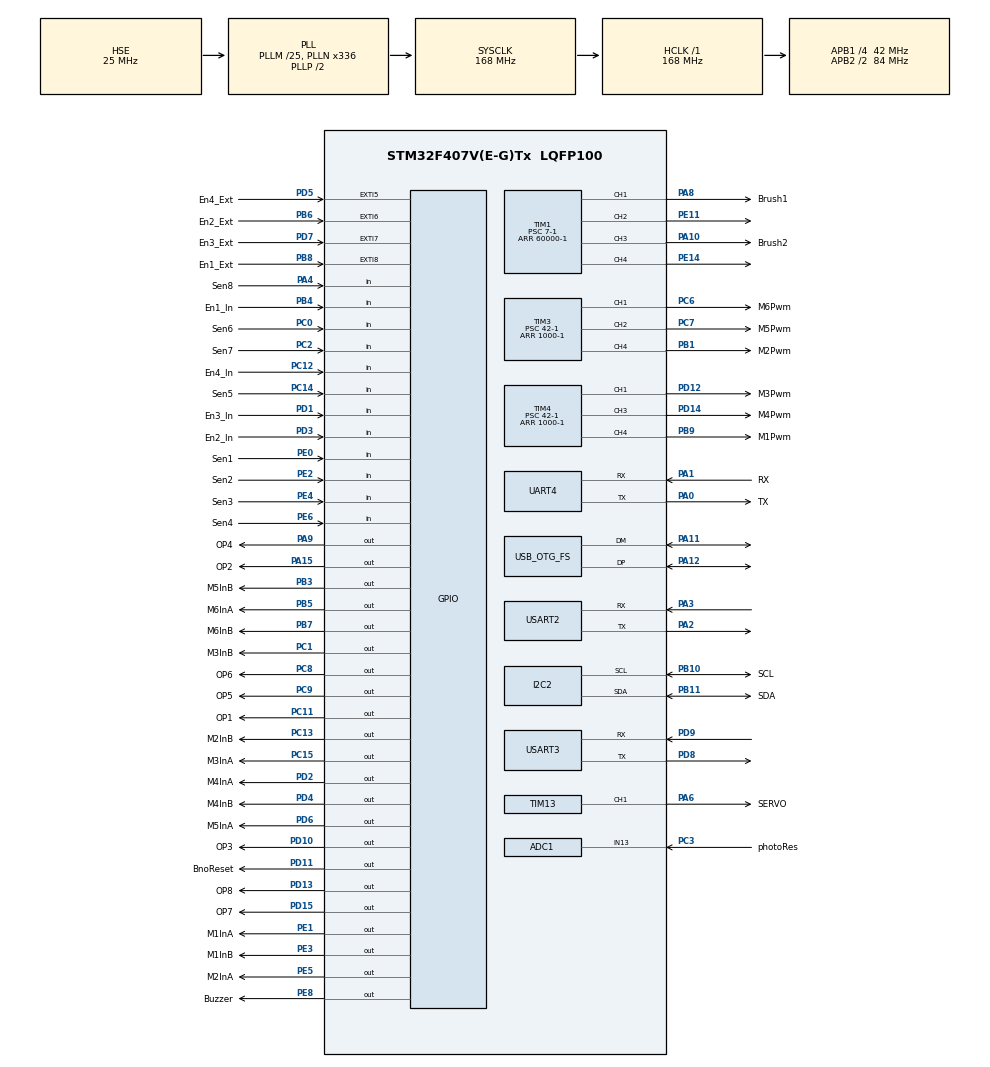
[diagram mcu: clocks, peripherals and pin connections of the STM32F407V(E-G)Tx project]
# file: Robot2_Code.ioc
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ADC1.Channel-0\#ChannelRegularConversion=ADC_CHANNEL_13
ADC1.NbrOfConversionFlag=1
ADC1.Rank-0\#ChannelRegularConversion=1
ADC1.SamplingTime-0\#ChannelRegularConversion=ADC_SAMPLETIME_3CYCLES
ADC1.master=1
Dma.Request0=UART4_TX
Dma.UART4_TX.0.Direction=DMA_MEMORY_TO_PERIPH
Dma.UART4_TX.0.FIFOMode=DMA_FIFOMODE_DISABLE
Dma.UART4_TX.0.Instance=DMA1_Stream4
Dma.UART4_TX.0.MemDataAlignment=DMA_MDATAALIGN_BYTE
Dma.UART4_TX.0.MemInc=DMA_MINC_ENABLE
Dma.UART4_TX.0.Mode=DMA_NORMAL
Dma.UART4_TX.0.PeriphDataAlignment=DMA_PDATAALIGN_BYTE
Dma.UART4_TX.0.PeriphInc=DMA_PINC_DISABLE
Dma.UART4_TX.0.Priority=DMA_PRIORITY_LOW
I2C2.I2C_Mode=I2C_Fast
Mcu.Family=STM32F4
Mcu.Name=STM32F407V(E-G)Tx
Mcu.Package=LQFP100
NVIC.DMA1_Stream4_IRQn=true\:0\:0\:false\:false\:true\:false\:true\:true
NVIC.EXTI9_5_IRQn=true\:0\:0\:false\:false\:true\:true\:true\:true
NVIC.OTG_FS_IRQn=true\:0\:0\:false\:false\:true\:false\:true\:true
NVIC.PriorityGroup=NVIC_PRIORITYGROUP_4
NVIC.TIM7_IRQn=true\:0\:0\:false\:false\:true\:true\:true\:true
NVIC.USART2_IRQn=true\:0\:0\:false\:false\:true\:true\:true\:true
NVIC.USART3_IRQn=true\:0\:0\:false\:false\:true\:true\:true\:true
PA0-WKUP.GPIO_Label=TX
PA0-WKUP.Mode=Asynchronous
PA0-WKUP.Signal=UART4_TX
PA1.GPIO_Label=RX
PA1.Mode=Asynchronous
PA1.Signal=UART4_RX
PA10.GPIO_Label=Brush2
PA10.Signal=S_TIM1_CH3
PA11.Mode=Device_Only
PA11.Signal=USB_OTG_FS_DM
PA12.Mode=Device_Only
PA12.Signal=USB_OTG_FS_DP
PA13.Mode=Serial_Wire
PA13.Signal=SYS_JTMS-SWDIO
PA14.Mode=Serial_Wire
PA14.Signal=SYS_JTCK-SWCLK
PA15.GPIO_Label=OP2
PA15.Signal=GPIO_Output
PA2.Mode=Asynchronous
PA2.Signal=USART2_TX
PA3.Mode=Asynchronous
PA3.Signal=USART2_RX
PA4.GPIO_Label=Sen8
PA4.GPIO_PuPd=GPIO_PULLUP
PA4.Signal=GPIO_Input
PA6.GPIO_Label=SERVO
PA6.Signal=S_TIM13_CH1
PA8.GPIO_Label=Brush1
PA8.Signal=S_TIM1_CH1
PA9.GPIO_Label=OP4
PA9.Signal=GPIO_Output
PB1.GPIO_Label=M2Pwm
PB1.Signal=S_TIM3_CH4
PB10.GPIO_Label=SCL
PB10.Mode=I2C
PB10.Signal=I2C2_SCL
PB11.GPIO_Label=SDA
PB11.Mode=I2C
PB11.Signal=I2C2_SDA
PB3.GPIO_Label=M5InB
PB3.Signal=GPIO_Output
PB4.GPIO_Label=En1_In
PB4.GPIO_PuPd=GPIO_PULLUP
PB4.Signal=GPIO_Input
PB5.GPIO_Label=M6InA
PB5.Signal=GPIO_Output
PB6.GPIO_Label=En2_Ext
PB6.GPIO_ModeDefaultEXTI=GPIO_MODE_IT_RISING
PB6.Signal=GPXTI6
PB7.GPIO_Label=M6InB
PB7.Signal=GPIO_Output
PB8.GPIO_Label=En1_Ext
PB8.Signal=GPXTI8
PB9.GPIO_Label=M1Pwm
PB9.Signal=S_TIM4_CH4
PC0.GPIO_Label=Sen6
PC0.GPIO_PuPd=GPIO_PULLUP
PC0.Signal=GPIO_Input
PC1.GPIO_Label=M3InB
PC1.Signal=GPIO_Output
PC11.GPIO_Label=OP1
PC11.Signal=GPIO_Output
PC12.GPIO_Label=En4_In
PC12.GPIO_PuPd=GPIO_PULLUP
PC12.Signal=GPIO_Input
PC13-ANTI_TAMP.GPIO_Label=M2InB
PC13-ANTI_TAMP.Signal=GPIO_Output
PC14-OSC32_IN.GPIO_Label=Sen5
PC14-OSC32_IN.GPIO_PuPd=GPIO_PULLUP
PC14-OSC32_IN.Signal=GPIO_Input
PC15-OSC32_OUT.GPIO_Label=M3InA
PC15-OSC32_OUT.Signal=GPIO_Output
PC2.GPIO_Label=Sen7
PC2.GPIO_PuPd=GPIO_PULLUP
PC2.Signal=GPIO_Input
PC3.GPIO_Label=photoRes
PC3.Signal=SharedAnalog_PC3
PC6.GPIO_Label=M6Pwm
PC6.Signal=S_TIM3_CH1
PC7.GPIO_Label=M5Pwm
PC7.Signal=S_TIM3_CH2
PC8.GPIO_Label=OP6
PC8.Signal=GPIO_Output
PC9.GPIO_Label=OP5
PC9.Signal=GPIO_Output
PD1.GPIO_Label=En3_In
PD1.GPIO_PuPd=GPIO_PULLUP
PD1.Signal=GPIO_Input
PD10.GPIO_Label=OP3
PD10.Signal=GPIO_Output
PD11.GPIO_Label=BnoReset
PD11.Signal=GPIO_Output
PD12.GPIO_Label=M3Pwm
PD12.Signal=S_TIM4_CH1
PD13.GPIO_Label=OP8
PD13.Signal=GPIO_Output
PD14.GPIO_Label=M4Pwm
PD14.Signal=S_TIM4_CH3
PD15.GPIO_Label=OP7
PD15.Signal=GPIO_Output
PD2.GPIO_Label=M4InA
PD2.Signal=GPIO_Output
PD3.GPIO_Label=En2_In
PD3.GPIO_PuPd=GPIO_PULLUP
PD3.Signal=GPIO_Input
PD4.GPIO_Label=M4InB
PD4.Signal=GPIO_Output
PD5.GPIO_Label=En4_Ext
PD5.Signal=GPXTI5
PD6.GPIO_Label=M5InA
PD6.Signal=GPIO_Output
PD7.GPIO_Label=En3_Ext
PD7.Signal=GPXTI7
PD8.Mode=Asynchronous
PD8.Signal=USART3_TX
PD9.Mode=Asynchronous
PD9.Signal=USART3_RX
PE0.GPIO_Label=Sen1
PE0.GPIO_PuPd=GPIO_PULLUP
PE0.Signal=GPIO_Input
PE1.GPIO_Label=M1InA
PE1.Signal=GPIO_Output
PE11.Signal=S_TIM1_CH2
PE14.Signal=S_TIM1_CH4
PE2.GPIO_Label=Sen2
PE2.GPIO_PuPd=GPIO_PULLUP
PE2.Signal=GPIO_Input
PE3.GPIO_Label=M1InB
PE3.Signal=GPIO_Output
PE4.GPIO_Label=Sen3
PE4.GPIO_PuPd=GPIO_PULLUP
PE4.Signal=GPIO_Input
PE5.GPIO_Label=M2InA
PE5.Signal=GPIO_Output
PE6.GPIO_Label=Sen4
PE6.GPIO_PuPd=GPIO_PULLUP
PE6.Signal=GPIO_Input
PE8.GPIO_Label=Buzzer
PE8.Signal=GPIO_Output
PH0-OSC_IN.Mode=HSE-External-Oscillator
PH0-OSC_IN.Signal=RCC_OSC_IN
PH1-OSC_OUT.Mode=HSE-External-Oscillator
PH1-OSC_OUT.Signal=RCC_OSC_OUT
ProjectManager.HeapSize=0x200
ProjectManager.StackSize=0x400
ProjectManager.TargetToolchain=CMake
RCC.48MHZClocksFreq_Value=48000000
RCC.AHBFreq_Value=168000000
RCC.APB1CLKDivider=RCC_HCLK_DIV4
RCC.APB1Freq_Value=42000000
RCC.APB1TimFreq_Value=84000000
RCC.APB2CLKDivider=RCC_HCLK_DIV2
RCC.APB2Freq_Value=84000000
RCC.APB2TimFreq_Value=168000000
RCC.CortexFreq_Value=168000000
RCC.HCLKFreq_Value=168000000
RCC.HSE_VALUE=25000000
RCC.HSI_VALUE=16000000
RCC.LSE_VALUE=32768
RCC.PLLM=25
RCC.PLLN=336
RCC.PLLQ=7
RCC.SYSCLKFreq_VALUE=168000000
RCC.SYSCLKSource=RCC_SYSCLKSOURCE_PLLCLK
RCC.VCOOutputFreq_Value=336000000
SH.S_TIM13_CH1.0=TIM13_CH1,PWM Generation1 CH1
SH.S_TIM1_CH1.0=TIM1_CH1,PWM Generation1 CH1
SH.S_TIM1_CH2.0=TIM1_CH2,PWM Generation2 CH2
SH.S_TIM1_CH3.0=TIM1_CH3,PWM Generation3 CH3
SH.S_TIM1_CH4.0=TIM1_CH4,PWM Generation4 CH4
SH.S_TIM3_CH1.0=TIM3_CH1,PWM Generation1 CH1
SH.S_TIM3_CH2.0=TIM3_CH2,PWM Generation2 CH2
SH.S_TIM3_CH4.0=TIM3_CH4,PWM Generation4 CH4
SH.S_TIM4_CH1.0=TIM4_CH1,PWM Generation1 CH1
SH.S_TIM4_CH3.0=TIM4_CH3,PWM Generation3 CH3
SH.S_TIM4_CH4.0=TIM4_CH4,PWM Generation4 CH4
SH.SharedAnalog_PC3.0=GPIO_Analog
SH.SharedAnalog_PC3.1=ADC1_IN13,IN13
TIM1.Channel-PWM\ Generation1\ CH1=TIM_CHANNEL_1
TIM1.Channel-PWM\ Generation2\ CH2=TIM_CHANNEL_2
TIM1.Channel-PWM\ Generation3\ CH3=TIM_CHANNEL_3
TIM1.Channel-PWM\ Generation4\ CH4=TIM_CHANNEL_4
TIM1.Period=60000-1
TIM1.Prescaler=7-1
TIM13.Channel=TIM_CHANNEL_1
TIM13.Period=19999
TIM13.Prescaler=83
TIM13.Pulse=1500
TIM3.Channel-PWM\ Generation1\ CH1=TIM_CHANNEL_1
TIM3.Channel-PWM\ Generation2\ CH2=TIM_CHANNEL_2
TIM3.Channel-PWM\ Generation4\ CH4=TIM_CHANNEL_4
TIM3.Period=1000-1
TIM3.Prescaler=42-1
TIM4.Channel-PWM\ Generation1\ CH1=TIM_CHANNEL_1
TIM4.Channel-PWM\ Generation3\ CH3=TIM_CHANNEL_3
TIM4.Channel-PWM\ Generation4\ CH4=TIM_CHANNEL_4
TIM4.Period=1000-1
TIM4.Prescaler=42-1
TIM7.Period=1000-1
TIM7.Prescaler=42-1
UART4.VirtualMode=Asynchronous
USART2.VirtualMode=VM_ASYNC
USART3.VirtualMode=VM_ASYNC
USB_DEVICE.CLASS_NAME_FS=CDC
USB_DEVICE.VirtualMode-CDC_FS=Cdc
USB_DEVICE.VirtualModeFS=Cdc_FS
USB_OTG_FS.VirtualMode=Device_Only
VP_TIM13_VS_ClockSourceINT.Mode=Enable_Timer
VP_TIM1_VS_ClockSourceINT.Mode=Internal
VP_TIM4_VS_ClockSourceINT.Mode=Internal
VP_TIM7_VS_ClockSourceINT.Mode=Enable_Timer
VP_USB_DEVICE_VS_USB_DEVICE_CDC_FS.Mode=CDC_FS
board=custom

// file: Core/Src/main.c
/* USER CODE BEGIN Header */
/**
 ******************************************************************************
 * @file           : main.c
 * @brief          : Main program body
 ******************************************************************************
 * @attention
 *
 * Copyright (c) 2025 STMicroelectronics.
 * All rights reserved.
 *
 * This software is licensed under terms that can be found in the LICENSE file
 * in the root directory of this software component.
 * If no LICENSE file comes with this software, it is provided AS-IS.
 *
 ***************************************c***************************************
 */
/* USER CODE END Header */
#include "main.h"
#include "usb_device.h"

/* USER CODE BEGIN Includes */
#include "blue.h"
#include "general.h"
#include "lpms.h"
#include "red.h"
#include "sequence.h"
#include "test.h"
#include <stdio.h>
#include <string.h> // memcpy() — PS5 багцыг PCB2 руу дамжуулахад

// #include "lpms.h"
/* USER CODE END Includes */

ADC_HandleTypeDef hadc1;

I2C_HandleTypeDef hi2c2;

TIM_HandleTypeDef htim1;
TIM_HandleTypeDef htim3;
TIM_HandleTypeDef htim4;
TIM_HandleTypeDef htim7;
TIM_HandleTypeDef htim13;

UART_HandleTypeDef huart4;
UART_HandleTypeDef huart2;
UART_HandleTypeDef huart3;
DMA_HandleTypeDef hdma_uart4_tx;

void SystemClock_Config(void);
static void MX_GPIO_Init(void);
static void MX_DMA_Init(void);
static void MX_I2C2_Init(void);
static void MX_TIM1_Init(void);
static void MX_UART4_Init(void);
static void MX_USART3_UART_Init(void);
static void MX_TIM3_Init(void);
static void MX_TIM4_Init(void);
static void MX_TIM7_Init(void);
static void MX_TIM13_Init(void);
static void MX_ADC1_Init(void);
static void MX_USART2_UART_Init(void);
/* USER CODE BEGIN PFP */

int control_data[5][4] = {0};

void send_DMA(uint8_t command) {
  HAL_UART_Transmit(&huart4, &command, 1, HAL_MAX_DELAY);
}
uint8_t information[23]; // шинэ урт
uint8_t rx_idx = 0;
uint8_t data;

/* ---- USART2 (PA2) → 2 дахь PCB руу PS5 багц дамжуулах ------------------- */
uint8_t link_tx[23]; // Transmit_IT-ийн буфер (information-оос хуулна)
volatile uint32_t link_fwd_n = 0;    // амжилттай дамжуулсан багц
volatile uint32_t link_fwd_skip = 0; // BUSY-аас болж алгассан багц

/* ---- USART2 (PA3 RX) ← PCB2-оос ирэх ЗАМ (route) -----------------------
 *  PCB2 тактик setup-д хамгийн сайн баганыг тооцоод [START][route][0x0A]
 *  багцаар илгээнэ:  START=0xB2 preview (харуулна),  START=0xB3 SET (эхэлнэ).
 *  g_route (1/2/3) -ыг auto_climb climb_1/2/3-д, g_route_set-ийг ЭХЛЭХ гэрэлд.
 *  USART2 нь full-duplex — TX (дамжуулах) ба RX (route) зэрэг ажиллана.     */
volatile uint8_t g_route = 0; // 1/2/3 = сонгосон багана (preview/set), 0=алга
volatile uint8_t g_route_set =
    0; // 1 = тактик БАТАЛГААЖСАН (0xB3 ирсэн) → эхэлж болно
volatile uint8_t g_grab_done =
    0; // 1 = PCB2 grab дуусгасан (0xB5 ирсэн) — handshake ack
volatile uint8_t g_grab_ans =
    0; // PCB2-ийн "энд grab уу?" хариу (0xB6): 1=grab 0=skip
volatile uint8_t g_grab_ans_rdy = 0; // 1 = дээрх хариу шинээр ирсэн
volatile uint8_t g_strafe_cmd =
    0; // PCB2-ийн strafe команд (0xB7): 0=зогс 1=зүүн 2=баруун
volatile uint32_t g_strafe_ms =
    0; // сүүлд strafe команд ирсэн үе (шинэлэг эсэхийг шалгах)
volatile uint32_t route_rx_n = 0;  // USART2 RX-д ирсэн НИЙТ байт (оношилгоо)
volatile uint32_t route_pkt_n = 0; // бүрэн задарсан route/ack багц (оношилгоо)
static uint8_t route_rx = 0;       // HAL RX буфер (1 байт)
static uint8_t route_state = 0;    // 0=START хүлээх, 1=route, 2=END
static uint8_t route_start = 0;    // энэ багцын START (0xB2/0xB3)
static uint8_t route_tmp = 0;      // задарч буй route

/* -----------------------------------------------------------------------------
 *  HAL_UART_RxCpltCallback — ESP32-оос ирсэн PS5 багцыг задлах (huart3, 1
 * байт/удаа)
 *
 *  Багц: 23 байт,  [0]=0xAA (START) ... [22]=0x0A (END),  [21]=холболтын флаг.
 *  START байт хүлээж, 23 байт бүрдэхэд задалж control_data[5][4]-д хийнэ.
 *
 *  ─ Джойстик (information[1..4] − 100 → control_data[0][0..3], утга −100..100)
 * ─ control_data[0][0] = Зүүн стик X       control_data[0][2] = Баруун стик X
 *      control_data[0][1] = Зүүн стик Y       control_data[0][3] = Баруун стик
 * Y
 *
 *  ─ Товч (information[5..20] → control_data[1..4][0..3], утга 0/1) ─
 *      control_data[1][0]=Cross    [1][1]=Square   [1][2]=Triangle
 * [1][3]=Circle control_data[2][0]=D-Down   [2][1]=D-Right  [2][2]=D-Up
 * [2][3]=D-Left control_data[3][0]=L1       [3][1]=R1       [3][2]=L2 [3][3]=R2
 *      control_data[4][0]=Share    [4][1]=Options  [4][2]=L3       [4][3]=R3
 *
 *  Холбогдоогүй (флаг = 0) бол бүх утгыг 0 болгож цэвэрлэнэ.
 * -----------------------------------------------------------------------------
 */
void HAL_UART_RxCpltCallback(UART_HandleTypeDef *huart) {
  if (huart == &huart3) {
    if (rx_idx == 0 && data != 0xAA) {
      HAL_UART_Receive_IT(&huart3, &data, 1);
      return;
    }

    information[rx_idx++] = data;

    if (rx_idx == 23 && information[22] == 0x0A) {
      uint8_t isConnected = information[21];

      if (isConnected == 1) {
        // --- Джойстик: information[1..4] → control_data[0][0..3], төв 100-г
        // хасаж -100..100 ---
        //   [0][0]=LStickX  [0][1]=LStickY  [0][2]=RStickX  [0][3]=RStickY
        for (int i = 0; i < 4; i++) {
          control_data[0][i] = information[1 + i] - 100;
        }

        // --- Товч: information[5..20] → control_data[1..4][0..3] (0/1) ---
        //   мөр 1 = Cross/Square/Triangle/Circle
        //   мөр 2 = D-pad Down/Right/Up/Left
        //   мөр 3 = L1/R1/L2/R2
        //   мөр 4 = Share/Options/L3/R3
        for (int i = 0; i < 16; i++) {
          control_data[1 + (i / 4)][i % 4] = information[5 + i];
        }

      } else {
        // --- Холбогдоогүй: бүх джойстик/товчийг тэглэх ---
        for (int i = 0; i < 5; i++) {
          for (int j = 0; j < 4; j++) {
            control_data[i][j] = 0;
          }
        }
      }

      /* ===== 2 дахь PCB руу ДАМЖУУЛАХ (USART2, PA2) =====
       *  PS5 нэг ширхэг — түүнийг ЭНЭ самбарт залгаад PCB2 руу дамжуулна.
       *
       *  Түүхий 23 байтыг ЯГ ТЭР ХЭВЭЭР нь дамжуулна (дахин задлаж угсрахгүй).
       *  Тиймээс PCB2 нь ЯГ ижил задлагч ашиглана — формат хэзээ ч зөрөхгүй.
       *
       *  Transmit_IT — blocking БИШ. HAL_UART_Transmit (blocking) бол 23 байт
       *  @115200 = ~2мс ISR дотор гацна, тэр нь бусад тасалдлыг хойшлуулна.
       *
       *  Өмнөх дамжуулалт дуусаагүй бол HAL_BUSY буцаана → энэ багцыг чимээгүй
       *  алгасана. ESP32 нь ~10-20мс тутам илгээдэг, дамжуулалт 2мс тул
       *  давхцах нь ховор; давхцлаа ч дараагийн багц шууд ирнэ.
       */
      memcpy(link_tx, information, 23);
      if (HAL_UART_Transmit_IT(&huart2, link_tx, 23) == HAL_OK) {
        link_fwd_n++;
      } else {
        link_fwd_skip++;
      }

      rx_idx = 0;
    } else if (rx_idx >= 23) {
      rx_idx = 0; // invalid
    }

    HAL_UART_Receive_IT(&huart3, &data, 1);
  } else if (huart == &huart2) {
    /* --- PCB2-оос ирэх багц [START][data][0x0A] ---
     *   0xB2 preview · 0xB3 SET(route) · 0xB5 GRAB-DONE · 0xB6 GRAB-ANS(1/0)
     *   0xB7 STRAFE(0=зогс/1=зүүн/2=баруун) — grab дундах strafe-ийг PCB2
     * удирдана */
    route_rx_n++; // оношилгоо: нийт байт
    switch (route_state) {
    case 0:
      if (route_rx == 0xB2 || route_rx == 0xB3 || route_rx == 0xB5 ||
          route_rx == 0xB6 || route_rx == 0xB7) {
        route_start = route_rx;
        route_state = 1;
      }
      break;
    case 1:
      route_tmp = route_rx;
      route_state = 2;
      break; // data
    default: // END
      if (route_rx == 0x0A) {
        if (route_start == 0xB5) { // PCB2 grab дуусгасан ack
          g_grab_done = 1;
          route_pkt_n++;
        } else if (route_start == 0xB6) { // "энд grab уу?" хариу
          g_grab_ans = (route_tmp != 0);
          g_grab_ans_rdy = 1;
          route_pkt_n++;
        } else if (route_start == 0xB7) { // strafe команд (grab дунд)
          g_strafe_cmd = route_tmp;       // 0=зогс 1=зүүн 2=баруун
          g_strafe_ms = HAL_GetTick();    // шинэлэг тэмдэг
          route_pkt_n++;
        } else if (route_tmp >= 1 && route_tmp <= 3) { // route (0xB2/0xB3)
          g_route = route_tmp;
          route_pkt_n++;
          if (route_start == 0xB3)
            g_route_set = 1; // SET → LOCK
        }
      }
      route_state = 0;
      break;
    }
    HAL_UART_Receive_IT(&huart2, &route_rx, 1);
  }
}

/* -----------------------------------------------------------------------------
 *  Link_Send_Grab — PCB2 руу "GRAB эхлүүл" команд (USART2 TX, PS5-тэй нэг
 * шугам)
 *
 *  Багц: [0xC1][0xC2][type][0x0A] — давхар magic (0xC1,0xC2) нь PS5 урсгалтай
 *  санамсаргүй давхцахаас сэргийлнэ.  type: 0 = down_20, 1 = up_20 (платформ).
 *  PCB2 үүнийг ялгаж, төрөл + f/b тоологчоор аль грабыг ажиллуулахаа сонгоно.
 *  Forwarding идэвхтэй (gState=BUSY_TX) бол HAL_BUSY → чимээгүй алгасана;
 *  auto_climb grab-ийн хүлээх төлөвт давтан илгээдэг тул нэг нь хүрнэ. */
void Link_Send_Grab(uint8_t type) {
  uint8_t pkt[4] = {0xC1, 0xC2, type, 0x0A};
  HAL_UART_Transmit(&huart2, pkt, 4, 5);
}

/* -----------------------------------------------------------------------------
 *  Link_Query_Block — PCB2-оос "энэ блок дээр grab хийх үү?" асуух
 *    Багц: [0xC3][block][0x0A]  (block = 1..12). PCB2 тактикаа шалгаад
 *    [0xB6][1/0][0x0A] хариулна → g_grab_ans / g_grab_ans_rdy.               */
void Link_Query_Block(uint8_t block) {
  uint8_t pkt[3] = {0xC3, block, 0x0A};
  HAL_UART_Transmit(&huart2, pkt, 3, 5);
}

/* USER CODE END PFP */

/* USER CODE BEGIN 0 */

extern int timer;
extern int counter[4];

uint8_t usb_received_value = 0;
uint8_t usb_new_data_flag = 0;

/* USER CODE END 0 */

int main(void) {

  /* MCU Configuration--------------------------------------------------------*/

  /* Reset of all peripherals, Initializes the  Flash interface and the Systick.
   */

  HAL_Init();

  /* Configure the system clock */
  SystemClock_Config();

  /* Initialize all configured peripherals */
  MX_GPIO_Init();
  MX_DMA_Init();
  MX_I2C2_Init();
  MX_TIM1_Init();
  MX_UART4_Init();
  MX_USART3_UART_Init();
  MX_TIM3_Init();
  MX_TIM4_Init();
  MX_TIM7_Init();
  MX_TIM13_Init();
  MX_ADC1_Init();
  MX_USB_DEVICE_Init();
  MX_USART2_UART_Init();
  /* USER CODE BEGIN 2 */
  /* USART2 (PA3 RX) — PCB2-оос ирэх route-ыг ЭРТ зэвсэглэнэ. generalInit нь
     huart3-ыг зэвсэглэдэг ба түүний ISR huart2 TX-д Transmit_IT хийж болзошгүй
     тул huart2 RX-ийг ТҮҮНЭЭС ӨМНӨ армлавал HAL_LOCK-ийн race гарахгүй. */
  HAL_UART_Receive_IT(&huart2, &route_rx, 1);

  generalInit();

  /* Серво эхлэлийн байрлал (180°). generalInit нь PWM сувгийг асаадаг ч
     өнцөг бичдэггүй — энэгүйгээр серво асахдаа хаана байснаа тэндээ үлдэнэ. */
  Servo_Home();

  /* ===== RACK HOMING — encoder-ийн 0 цэгийг доод limit switch дээр тогтоох
   * ===== Тохируулга ХЭМЖИГДСЭН (Rack_Joystick_Test): FRONT = M6 / counter[1] /
   * S2 ,  BACK = M5 / counter[0] / S1 +PWM → counter ӨСНӨ  ⇒  −PWM нь ракыг
   * доод switch рүү БУУЛГАНА (homing зөв).
   *
   *  Preset түвшнүүд 0 цэгээс тоологддог тул homing ЗААВАЛ эхэлж хийгдэнэ.
   *  Switch олдохгүй бол (timeout) байрлал тодорхойгүй — preset рүү ОРОХГҮЙ.
   */
  uint8_t home_ok = Rack_SetHome(&frontRack);
  if (!Rack_SetHome(&backRack))
    home_ok = 0;

  if (!home_ok) {
    colorFill(Black);
    setCursor(4, 16);
    printStr("HOMING FAILED");
    setCursor(4, 36);
    printStr("check limit sw");
    setScreen();
    while (1) {
    } // байрлал тодорхойгүй — rack-ийг БҮҮ хөдөлгө
  }

  /* ===== LPMS GYRO =====
   *  UART4 дээр LPMS-ийг асааж, урсгалыг цэвэрлээд, yaw-ийн 0 цэгийг тогтооно.
   *  ⚠ Rack_Telemetry_Serial МӨН UART4 тул түүнийг ЗЭРЭГ БҮҮ ДУУД. */
  /* auto_climb (мод 2) нь Drive_Straight (gyro) ашиглах тул LPMS идэвхтэй байх
   * ёстой. ⚠ UART4-ийг LPMS эзэлнэ → мод 15/21-ийн Rack_Telemetry_Serial
   * ажиллахгүй болно. Рак serial тааруулга хийх бол ДООРХ 3 мөрийг түр comment
   * болгоно. */
  LPMS_Init();
  for (int i = 0; i < 50; i++) {
    LPMS_Read();
  } // stream-ийг цэвэрлэх (эхний хог)
  Gyro_ZeroYaw(); // одоогийн чиглэлийг 0 болгох

  /* ===== ГОРИМ СОНГОХ =====
   *  Share = дараах горим,  Options = сонгох.  БУЦАХГҮЙ — сонгосон горим
   *  өөрийн while(true)-д үлдэнэ. Мөн энэ нь эхлүүлэх хамгаалалт болно:
   *  robot тэжээл өгмөгц дүүлэхгүй, товч дартал хүлээнэ.                    */
  selectMode();
  /* USER CODE END 2 */

  /* Infinite loop */
  /* USER CODE BEGIN WHILE */

  /* selectMode() БУЦАХГҮЙ — горим бүр өөрийн while(true)-д үлддэг.
     Энд хүрэх нь зөвхөн ямар нэг зүйл буруудсан гэсэн үг.               */
  while (1) {
  }
  /* USER CODE END WHILE */

}

void SystemClock_Config(void) {
  RCC_OscInitTypeDef RCC_OscInitStruct = {0};
  RCC_ClkInitTypeDef RCC_ClkInitStruct = {0};

  /** Configure the main internal regulator output voltage
   */
  __HAL_RCC_PWR_CLK_ENABLE();
  __HAL_PWR_VOLTAGESCALING_CONFIG(PWR_REGULATOR_VOLTAGE_SCALE1);

  /** Initializes the RCC Oscillators according to the specified parameters
   * in the RCC_OscInitTypeDef structure.
   */
  RCC_OscInitStruct.OscillatorType = RCC_OSCILLATORTYPE_HSE;
  RCC_OscInitStruct.HSEState = RCC_HSE_ON;
  RCC_OscInitStruct.PLL.PLLState = RCC_PLL_ON;
  RCC_OscInitStruct.PLL.PLLSource = RCC_PLLSOURCE_HSE;
  RCC_OscInitStruct.PLL.PLLM = 25;
  RCC_OscInitStruct.PLL.PLLN = 336;
  RCC_OscInitStruct.PLL.PLLP = RCC_PLLP_DIV2;
  RCC_OscInitStruct.PLL.PLLQ = 7;
  if (HAL_RCC_OscConfig(&RCC_OscInitStruct) != HAL_OK) {
    Error_Handler();
  }

  /** Initializes the CPU, AHB and APB buses clocks
   */
  RCC_ClkInitStruct.ClockType = RCC_CLOCKTYPE_HCLK | RCC_CLOCKTYPE_SYSCLK |
                                RCC_CLOCKTYPE_PCLK1 | RCC_CLOCKTYPE_PCLK2;
  RCC_ClkInitStruct.SYSCLKSource = RCC_SYSCLKSOURCE_PLLCLK;
  RCC_ClkInitStruct.AHBCLKDivider = RCC_SYSCLK_DIV1;
  RCC_ClkInitStruct.APB1CLKDivider = RCC_HCLK_DIV4;
  RCC_ClkInitStruct.APB2CLKDivider = RCC_HCLK_DIV2;

  if (HAL_RCC_ClockConfig(&RCC_ClkInitStruct, FLASH_LATENCY_5) != HAL_OK) {
    Error_Handler();
  }
}

static void MX_ADC1_Init(void) {

  ADC_ChannelConfTypeDef sConfig = {0};

  /** Configure the global features of the ADC (Clock, Resolution, Data
   * Alignment and number of conversion)
   */
  hadc1.Instance = ADC1;
  hadc1.Init.ClockPrescaler = ADC_CLOCK_SYNC_PCLK_DIV4;
  hadc1.Init.Resolution = ADC_RESOLUTION_12B;
  hadc1.Init.ScanConvMode = DISABLE;
  hadc1.Init.ContinuousConvMode = DISABLE;
  hadc1.Init.DiscontinuousConvMode = DISABLE;
  hadc1.Init.ExternalTrigConvEdge = ADC_EXTERNALTRIGCONVEDGE_NONE;
  hadc1.Init.ExternalTrigConv = ADC_SOFTWARE_START;
  hadc1.Init.DataAlign = ADC_DATAALIGN_RIGHT;
  hadc1.Init.NbrOfConversion = 1;
  hadc1.Init.DMAContinuousRequests = DISABLE;
  hadc1.Init.EOCSelection = ADC_EOC_SINGLE_CONV;
  if (HAL_ADC_Init(&hadc1) != HAL_OK) {
    Error_Handler();
  }

  /** Configure for the selected ADC regular channel its corresponding rank in
   * the sequencer and its sample time.
   */
  sConfig.Channel = ADC_CHANNEL_13;
  sConfig.Rank = 1;
  sConfig.SamplingTime = ADC_SAMPLETIME_3CYCLES;
  if (HAL_ADC_ConfigChannel(&hadc1, &sConfig) != HAL_OK) {
    Error_Handler();
  }
}

static void MX_I2C2_Init(void) {

  hi2c2.Instance = I2C2;
  hi2c2.Init.ClockSpeed = 400000;
  hi2c2.Init.DutyCycle = I2C_DUTYCYCLE_2;
  hi2c2.Init.OwnAddress1 = 0;
  hi2c2.Init.AddressingMode = I2C_ADDRESSINGMODE_7BIT;
  hi2c2.Init.DualAddressMode = I2C_DUALADDRESS_DISABLE;
  hi2c2.Init.OwnAddress2 = 0;
  hi2c2.Init.GeneralCallMode = I2C_GENERALCALL_DISABLE;
  hi2c2.Init.NoStretchMode = I2C_NOSTRETCH_DISABLE;
  if (HAL_I2C_Init(&hi2c2) != HAL_OK) {
    Error_Handler();
  }
}

static void MX_TIM1_Init(void) {

  TIM_ClockConfigTypeDef sClockSourceConfig = {0};
  TIM_MasterConfigTypeDef sMasterConfig = {0};
  TIM_OC_InitTypeDef sConfigOC = {0};
  TIM_BreakDeadTimeConfigTypeDef sBreakDeadTimeConfig = {0};

  htim1.Instance = TIM1;
  htim1.Init.Prescaler = 7 - 1;
  htim1.Init.CounterMode = TIM_COUNTERMODE_UP;
  htim1.Init.Period = 60000 - 1;
  htim1.Init.ClockDivision = TIM_CLOCKDIVISION_DIV1;
  htim1.Init.RepetitionCounter = 0;
  htim1.Init.AutoReloadPreload = TIM_AUTORELOAD_PRELOAD_DISABLE;
  if (HAL_TIM_Base_Init(&htim1) != HAL_OK) {
    Error_Handler();
  }
  sClockSourceConfig.ClockSource = TIM_CLOCKSOURCE_INTERNAL;
  if (HAL_TIM_ConfigClockSource(&htim1, &sClockSourceConfig) != HAL_OK) {
    Error_Handler();
  }
  if (HAL_TIM_PWM_Init(&htim1) != HAL_OK) {
    Error_Handler();
  }
  sMasterConfig.MasterOutputTrigger = TIM_TRGO_RESET;
  sMasterConfig.MasterSlaveMode = TIM_MASTERSLAVEMODE_DISABLE;
  if (HAL_TIMEx_MasterConfigSynchronization(&htim1, &sMasterConfig) != HAL_OK) {
    Error_Handler();
  }
  sConfigOC.OCMode = TIM_OCMODE_PWM1;
  sConfigOC.Pulse = 0;
  sConfigOC.OCPolarity = TIM_OCPOLARITY_HIGH;
  sConfigOC.OCNPolarity = TIM_OCNPOLARITY_HIGH;
  sConfigOC.OCFastMode = TIM_OCFAST_DISABLE;
  sConfigOC.OCIdleState = TIM_OCIDLESTATE_RESET;
  sConfigOC.OCNIdleState = TIM_OCNIDLESTATE_RESET;
  if (HAL_TIM_PWM_ConfigChannel(&htim1, &sConfigOC, TIM_CHANNEL_1) != HAL_OK) {
    Error_Handler();
  }
  if (HAL_TIM_PWM_ConfigChannel(&htim1, &sConfigOC, TIM_CHANNEL_2) != HAL_OK) {
    Error_Handler();
  }
  if (HAL_TIM_PWM_ConfigChannel(&htim1, &sConfigOC, TIM_CHANNEL_3) != HAL_OK) {
    Error_Handler();
  }
  if (HAL_TIM_PWM_ConfigChannel(&htim1, &sConfigOC, TIM_CHANNEL_4) != HAL_OK) {
    Error_Handler();
  }
  sBreakDeadTimeConfig.OffStateRunMode = TIM_OSSR_DISABLE;
  sBreakDeadTimeConfig.OffStateIDLEMode = TIM_OSSI_DISABLE;
  sBreakDeadTimeConfig.LockLevel = TIM_LOCKLEVEL_OFF;
  sBreakDeadTimeConfig.DeadTime = 0;
  sBreakDeadTimeConfig.BreakState = TIM_BREAK_DISABLE;
  sBreakDeadTimeConfig.BreakPolarity = TIM_BREAKPOLARITY_HIGH;
  sBreakDeadTimeConfig.AutomaticOutput = TIM_AUTOMATICOUTPUT_DISABLE;
  if (HAL_TIMEx_ConfigBreakDeadTime(&htim1, &sBreakDeadTimeConfig) != HAL_OK) {
    Error_Handler();
  }
  HAL_TIM_MspPostInit(&htim1);
}

static void MX_TIM3_Init(void) {

  TIM_MasterConfigTypeDef sMasterConfig = {0};
  TIM_OC_InitTypeDef sConfigOC = {0};

  htim3.Instance = TIM3;
  htim3.Init.Prescaler = 42 - 1;
  htim3.Init.CounterMode = TIM_COUNTERMODE_UP;
  htim3.Init.Period = 1000 - 1;
  htim3.Init.ClockDivision = TIM_CLOCKDIVISION_DIV1;
  htim3.Init.AutoReloadPreload = TIM_AUTORELOAD_PRELOAD_DISABLE;
  if (HAL_TIM_PWM_Init(&htim3) != HAL_OK) {
    Error_Handler();
  }
  sMasterConfig.MasterOutputTrigger = TIM_TRGO_RESET;
  sMasterConfig.MasterSlaveMode = TIM_MASTERSLAVEMODE_DISABLE;
  if (HAL_TIMEx_MasterConfigSynchronization(&htim3, &sMasterConfig) != HAL_OK) {
    Error_Handler();
  }
  sConfigOC.OCMode = TIM_OCMODE_PWM1;
  sConfigOC.Pulse = 0;
  sConfigOC.OCPolarity = TIM_OCPOLARITY_HIGH;
  sConfigOC.OCFastMode = TIM_OCFAST_DISABLE;
  if (HAL_TIM_PWM_ConfigChannel(&htim3, &sConfigOC, TIM_CHANNEL_1) != HAL_OK) {
    Error_Handler();
  }
  if (HAL_TIM_PWM_ConfigChannel(&htim3, &sConfigOC, TIM_CHANNEL_2) != HAL_OK) {
    Error_Handler();
  }
  if (HAL_TIM_PWM_ConfigChannel(&htim3, &sConfigOC, TIM_CHANNEL_4) != HAL_OK) {
    Error_Handler();
  }
  HAL_TIM_MspPostInit(&htim3);
}

static void MX_TIM4_Init(void) {

  TIM_ClockConfigTypeDef sClockSourceConfig = {0};
  TIM_MasterConfigTypeDef sMasterConfig = {0};
  TIM_OC_InitTypeDef sConfigOC = {0};

  htim4.Instance = TIM4;
  htim4.Init.Prescaler = 42 - 1;
  htim4.Init.CounterMode = TIM_COUNTERMODE_UP;
  htim4.Init.Period = 1000 - 1;
  htim4.Init.ClockDivision = TIM_CLOCKDIVISION_DIV1;
  htim4.Init.AutoReloadPreload = TIM_AUTORELOAD_PRELOAD_DISABLE;
  if (HAL_TIM_Base_Init(&htim4) != HAL_OK) {
    Error_Handler();
  }
  sClockSourceConfig.ClockSource = TIM_CLOCKSOURCE_INTERNAL;
  if (HAL_TIM_ConfigClockSource(&htim4, &sClockSourceConfig) != HAL_OK) {
    Error_Handler();
  }
  if (HAL_TIM_PWM_Init(&htim4) != HAL_OK) {
    Error_Handler();
  }
  sMasterConfig.MasterOutputTrigger = TIM_TRGO_RESET;
  sMasterConfig.MasterSlaveMode = TIM_MASTERSLAVEMODE_DISABLE;
  if (HAL_TIMEx_MasterConfigSynchronization(&htim4, &sMasterConfig) != HAL_OK) {
    Error_Handler();
  }
  sConfigOC.OCMode = TIM_OCMODE_PWM1;
  sConfigOC.Pulse = 0;
  sConfigOC.OCPolarity = TIM_OCPOLARITY_HIGH;
  sConfigOC.OCFastMode = TIM_OCFAST_DISABLE;
  if (HAL_TIM_PWM_ConfigChannel(&htim4, &sConfigOC, TIM_CHANNEL_1) != HAL_OK) {
    Error_Handler();
  }
  if (HAL_TIM_PWM_ConfigChannel(&htim4, &sConfigOC, TIM_CHANNEL_3) != HAL_OK) {
    Error_Handler();
  }
  if (HAL_TIM_PWM_ConfigChannel(&htim4, &sConfigOC, TIM_CHANNEL_4) != HAL_OK) {
    Error_Handler();
  }
  HAL_TIM_MspPostInit(&htim4);
}

static void MX_TIM7_Init(void) {

  TIM_MasterConfigTypeDef sMasterConfig = {0};

  htim7.Instance = TIM7;
  htim7.Init.Prescaler = 42 - 1;
  htim7.Init.CounterMode = TIM_COUNTERMODE_UP;
  htim7.Init.Period = 1000 - 1;
  htim7.Init.AutoReloadPreload = TIM_AUTORELOAD_PRELOAD_DISABLE;
  if (HAL_TIM_Base_Init(&htim7) != HAL_OK) {
    Error_Handler();
  }
  sMasterConfig.MasterOutputTrigger = TIM_TRGO_RESET;
  sMasterConfig.MasterSlaveMode = TIM_MASTERSLAVEMODE_DISABLE;
  if (HAL_TIMEx_MasterConfigSynchronization(&htim7, &sMasterConfig) != HAL_OK) {
    Error_Handler();
  }
}

static void MX_TIM13_Init(void) {

  TIM_OC_InitTypeDef sConfigOC = {0};

  htim13.Instance = TIM13;
  htim13.Init.Prescaler = 83;
  htim13.Init.CounterMode = TIM_COUNTERMODE_UP;
  htim13.Init.Period = 19999;
  htim13.Init.ClockDivision = TIM_CLOCKDIVISION_DIV1;
  htim13.Init.AutoReloadPreload = TIM_AUTORELOAD_PRELOAD_DISABLE;
  if (HAL_TIM_Base_Init(&htim13) != HAL_OK) {
    Error_Handler();
  }
  if (HAL_TIM_PWM_Init(&htim13) != HAL_OK) {
    Error_Handler();
  }
  sConfigOC.OCMode = TIM_OCMODE_PWM1;
  sConfigOC.Pulse = 1500;
  sConfigOC.OCPolarity = TIM_OCPOLARITY_HIGH;
  sConfigOC.OCFastMode = TIM_OCFAST_DISABLE;
  if (HAL_TIM_PWM_ConfigChannel(&htim13, &sConfigOC, TIM_CHANNEL_1) != HAL_OK) {
    Error_Handler();
  }
  HAL_TIM_MspPostInit(&htim13);
}

static void MX_UART4_Init(void) {

  huart4.Instance = UART4;
  huart4.Init.BaudRate = 115200;
  huart4.Init.WordLength = UART_WORDLENGTH_8B;
  huart4.Init.StopBits = UART_STOPBITS_1;
  huart4.Init.Parity = UART_PARITY_NONE;
  huart4.Init.Mode = UART_MODE_TX_RX;
  huart4.Init.HwFlowCtl = UART_HWCONTROL_NONE;
  huart4.Init.OverSampling = UART_OVERSAMPLING_16;
  if (HAL_UART_Init(&huart4) != HAL_OK) {
    Error_Handler();
  }
}

static void MX_USART2_UART_Init(void) {

  huart2.Instance = USART2;
  huart2.Init.BaudRate = 115200;
  huart2.Init.WordLength = UART_WORDLENGTH_8B;
  huart2.Init.StopBits = UART_STOPBITS_1;
  huart2.Init.Parity = UART_PARITY_NONE;
  huart2.Init.Mode = UART_MODE_TX_RX;
  huart2.Init.HwFlowCtl = UART_HWCONTROL_NONE;
  huart2.Init.OverSampling = UART_OVERSAMPLING_16;
  if (HAL_UART_Init(&huart2) != HAL_OK) {
    Error_Handler();
  }
}

static void MX_USART3_UART_Init(void) {

  huart3.Instance = USART3;
  huart3.Init.BaudRate = 115200;
  huart3.Init.WordLength = UART_WORDLENGTH_8B;
  huart3.Init.StopBits = UART_STOPBITS_1;
  huart3.Init.Parity = UART_PARITY_NONE;
  huart3.Init.Mode = UART_MODE_TX_RX;
  huart3.Init.HwFlowCtl = UART_HWCONTROL_NONE;
  huart3.Init.OverSampling = UART_OVERSAMPLING_16;
  if (HAL_UART_Init(&huart3) != HAL_OK) {
    Error_Handler();
  }
}

static void MX_DMA_Init(void) {

  /* DMA controller clock enable */
  __HAL_RCC_DMA1_CLK_ENABLE();

  /* DMA interrupt init */
  /* DMA1_Stream4_IRQn interrupt configuration */
  HAL_NVIC_SetPriority(DMA1_Stream4_IRQn, 0, 0);
  HAL_NVIC_EnableIRQ(DMA1_Stream4_IRQn);
}

static void MX_GPIO_Init(void) {
  GPIO_InitTypeDef GPIO_InitStruct = {0};

  /* GPIO Ports Clock Enable */
  __HAL_RCC_GPIOE_CLK_ENABLE();
  __HAL_RCC_GPIOC_CLK_ENABLE();
  __HAL_RCC_GPIOH_CLK_ENABLE();
  __HAL_RCC_GPIOA_CLK_ENABLE();
  __HAL_RCC_GPIOB_CLK_ENABLE();
  __HAL_RCC_GPIOD_CLK_ENABLE();

  /*Configure GPIO pin Output Level */
  HAL_GPIO_WritePin(GPIOE, M1InB_Pin | M2InA_Pin | Buzzer_Pin | M1InA_Pin,
                    GPIO_PIN_RESET);

  /*Configure GPIO pin Output Level */
  HAL_GPIO_WritePin(
      GPIOC, M2InB_Pin | M3InA_Pin | M3InB_Pin | OP6_Pin | OP5_Pin | OP1_Pin,
      GPIO_PIN_RESET);

  /*Configure GPIO pin Output Level */
  HAL_GPIO_WritePin(GPIOD,
                    OP3_Pin | BnoReset_Pin | OP8_Pin | OP7_Pin | M4InA_Pin |
                        M4InB_Pin | M5InA_Pin,
                    GPIO_PIN_RESET);

  /*Configure GPIO pin Output Level */
  HAL_GPIO_WritePin(GPIOA, OP4_Pin | OP2_Pin, GPIO_PIN_RESET);

  /*Configure GPIO pin Output Level */
  HAL_GPIO_WritePin(GPIOB, M5InB_Pin | M6InA_Pin | M6InB_Pin, GPIO_PIN_RESET);

  /*Configure GPIO pins : Sen2_Pin Sen3_Pin Sen4_Pin Sen1_Pin */
  GPIO_InitStruct.Pin = Sen2_Pin | Sen3_Pin | Sen4_Pin | Sen1_Pin;
  GPIO_InitStruct.Mode = GPIO_MODE_INPUT;
  GPIO_InitStruct.Pull = GPIO_PULLUP;
  HAL_GPIO_Init(GPIOE, &GPIO_InitStruct);

  /*Configure GPIO pins : M1InB_Pin M2InA_Pin Buzzer_Pin M1InA_Pin */
  GPIO_InitStruct.Pin = M1InB_Pin | M2InA_Pin | Buzzer_Pin | M1InA_Pin;
  GPIO_InitStruct.Mode = GPIO_MODE_OUTPUT_PP;
  GPIO_InitStruct.Pull = GPIO_NOPULL;
  GPIO_InitStruct.Speed = GPIO_SPEED_FREQ_LOW;
  HAL_GPIO_Init(GPIOE, &GPIO_InitStruct);

  /*Configure GPIO pins : M2InB_Pin M3InA_Pin M3InB_Pin OP6_Pin
                           OP5_Pin OP1_Pin */
  GPIO_InitStruct.Pin =
      M2InB_Pin | M3InA_Pin | M3InB_Pin | OP6_Pin | OP5_Pin | OP1_Pin;
  GPIO_InitStruct.Mode = GPIO_MODE_OUTPUT_PP;
  GPIO_InitStruct.Pull = GPIO_NOPULL;
  GPIO_InitStruct.Speed = GPIO_SPEED_FREQ_LOW;
  HAL_GPIO_Init(GPIOC, &GPIO_InitStruct);

  /*Configure GPIO pins : Sen5_Pin Sen6_Pin Sen7_Pin En4_In_Pin */
  GPIO_InitStruct.Pin = Sen5_Pin | Sen6_Pin | Sen7_Pin | En4_In_Pin;
  GPIO_InitStruct.Mode = GPIO_MODE_INPUT;
  GPIO_InitStruct.Pull = GPIO_PULLUP;
  HAL_GPIO_Init(GPIOC, &GPIO_InitStruct);

  /*Configure GPIO pin : Sen8_Pin */
  GPIO_InitStruct.Pin = Sen8_Pin;
  GPIO_InitStruct.Mode = GPIO_MODE_INPUT;
  GPIO_InitStruct.Pull = GPIO_PULLUP;
  HAL_GPIO_Init(Sen8_GPIO_Port, &GPIO_InitStruct);

  /*Configure GPIO pins : OP3_Pin BnoReset_Pin OP8_Pin OP7_Pin
                           M4InA_Pin M4InB_Pin M5InA_Pin */
  GPIO_InitStruct.Pin = OP3_Pin | BnoReset_Pin | OP8_Pin | OP7_Pin | M4InA_Pin |
                        M4InB_Pin | M5InA_Pin;
  GPIO_InitStruct.Mode = GPIO_MODE_OUTPUT_PP;
  GPIO_InitStruct.Pull = GPIO_NOPULL;
  GPIO_InitStruct.Speed = GPIO_SPEED_FREQ_LOW;
  HAL_GPIO_Init(GPIOD, &GPIO_InitStruct);

  /*Configure GPIO pins : OP4_Pin OP2_Pin */
  GPIO_InitStruct.Pin = OP4_Pin | OP2_Pin;
  GPIO_InitStruct.Mode = GPIO_MODE_OUTPUT_PP;
  GPIO_InitStruct.Pull = GPIO_NOPULL;
  GPIO_InitStruct.Speed = GPIO_SPEED_FREQ_LOW;
  HAL_GPIO_Init(GPIOA, &GPIO_InitStruct);

  /*Configure GPIO pins : En3_In_Pin En2_In_Pin */
  GPIO_InitStruct.Pin = En3_In_Pin | En2_In_Pin;
  GPIO_InitStruct.Mode = GPIO_MODE_INPUT;
  GPIO_InitStruct.Pull = GPIO_PULLUP;
  HAL_GPIO_Init(GPIOD, &GPIO_InitStruct);

  /*Configure GPIO pins : En4_Ext_Pin En3_Ext_Pin */
  GPIO_InitStruct.Pin = En4_Ext_Pin | En3_Ext_Pin;
  GPIO_InitStruct.Mode = GPIO_MODE_IT_RISING;
  GPIO_InitStruct.Pull = GPIO_NOPULL;
  HAL_GPIO_Init(GPIOD, &GPIO_InitStruct);

  /*Configure GPIO pins : M5InB_Pin M6InA_Pin M6InB_Pin */
  GPIO_InitStruct.Pin = M5InB_Pin | M6InA_Pin | M6InB_Pin;
  GPIO_InitStruct.Mode = GPIO_MODE_OUTPUT_PP;
  GPIO_InitStruct.Pull = GPIO_NOPULL;
  GPIO_InitStruct.Speed = GPIO_SPEED_FREQ_LOW;
  HAL_GPIO_Init(GPIOB, &GPIO_InitStruct);

  /*Configure GPIO pin : En1_In_Pin */
  GPIO_InitStruct.Pin = En1_In_Pin;
  GPIO_InitStruct.Mode = GPIO_MODE_INPUT;
  GPIO_InitStruct.Pull = GPIO_PULLUP;
  HAL_GPIO_Init(En1_In_GPIO_Port, &GPIO_InitStruct);

  /*Configure GPIO pins : En2_Ext_Pin En1_Ext_Pin */
  GPIO_InitStruct.Pin = En2_Ext_Pin | En1_Ext_Pin;
  GPIO_InitStruct.Mode = GPIO_MODE_IT_RISING;
  GPIO_InitStruct.Pull = GPIO_NOPULL;
  HAL_GPIO_Init(GPIOB, &GPIO_InitStruct);

  /* EXTI interrupt init*/
  HAL_NVIC_SetPriority(EXTI9_5_IRQn, 0, 0);
  HAL_NVIC_EnableIRQ(EXTI9_5_IRQn);

}

void Error_Handler(void) {
  __disable_irq();
  while (1) {
  }
}

#ifdef USE_FULL_ASSERT
/**
 * @brief  Reports the name of the source file and the source line number
 *         where the assert_param error has occurred.
 * @param  file: pointer to the source file name
 * @param  line: assert_param error line source number
 * @retval None
 */
void assert_failed(uint8_t *file, uint32_t line) {
  /* USER CODE BEGIN 6 */
  /* User can add his own implementation to report the file name and line
     number, ex: printf("Wrong parameters value: file %s on line %d\r\n", file,
     line) */
  /* USER CODE END 6 */
}
#endif /* USE_FULL_ASSERT */
